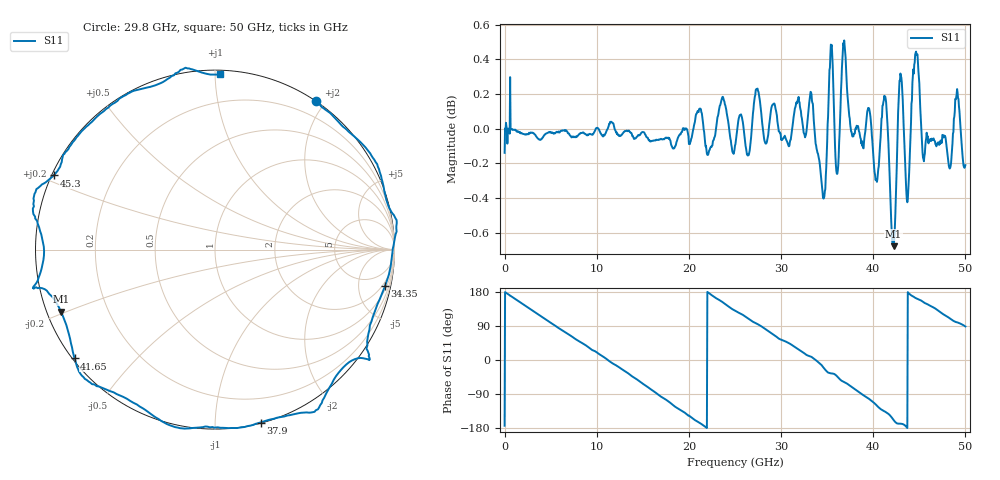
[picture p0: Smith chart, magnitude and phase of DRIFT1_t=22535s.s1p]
!Created with skrf (http://scikit-rf.org).
# Hz S RI R 50.0
!freq ReS11 ImS11
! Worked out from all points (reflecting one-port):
!   1001 points, 300 kHz to 50 GHz, reference 50 ohm
!   lowest |S11| = -0.7 dB at 42.2 GHz (marker M1), VSWR 25.62, Z = 2.03 - j9.69 ohm
!   phase of S11 starts at -174 deg and turns -818 deg over the sweep
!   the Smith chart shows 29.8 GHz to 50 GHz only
!   S11 on the Smith chart (normalised r, x): 29.8 GHz: 0.00, +1.89; 34.35 GHz: 1.39, -9.17; 37.9 GHz: 0.00, -1.30; 41.65 GHz: 0.01, -0.34; 45.3 GHz: 0.01, +0.22; 50 GHz: 0.02, +1.03
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300000  -0.9779 -0.1102
1.450291e9  -0.9124 0.405
3.25028e9  -0.5917 0.8015
6.250262e9  0.2022 0.9782
9.450243e9  0.8864 0.4542
1.250022e10  0.9316 -0.3496
1.580021e10  0.2373 -0.9628
1.74002e10  -0.2232 -0.9681
1.875019e10  -0.5982 -0.7926
2.150017e10  -0.9936 -0.1508
2.350016e10  -0.9237 0.4285
2.500015e10  -0.6332 0.7595
2.740014e10  -0.0953 1.022
2.980012e10  0.5606 0.8257
3.125011e10  0.7872 0.6201
3.31501e10  1.007 0.1723
3.435009e10  0.9468 -0.2042
3.525009e10  0.8587 -0.5863
3.750008e10  0.3698 -0.9322
3.790007e10  0.254 -0.9638
3.960006e10  -0.2383 -0.9834
4.165005e10  -0.7827 -0.6062
4.220005e10  -0.8577 -0.346
4.290004e10  -1.01 -0.215
4.375004e10  -0.9538 0.0165
4.530003e10  -0.8977 0.4133
4.770001e10  -0.4876 0.8679
5e10  0.0259 0.9757
